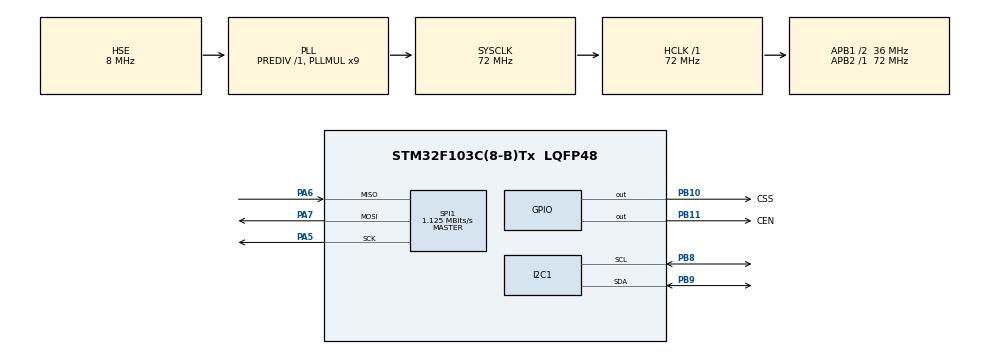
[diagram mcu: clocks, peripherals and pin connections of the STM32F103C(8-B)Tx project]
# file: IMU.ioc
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I2C1.I2C_Mode=I2C_Fast
Mcu.Family=STM32F1
Mcu.Name=STM32F103C(8-B)Tx
Mcu.Package=LQFP48
NVIC.PriorityGroup=NVIC_PRIORITYGROUP_4
PA13.Mode=Serial_Wire
PA13.Signal=SYS_JTMS-SWDIO
PA14.Mode=Serial_Wire
PA14.Signal=SYS_JTCK-SWCLK
PA5.Mode=Full_Duplex_Master
PA5.Signal=SPI1_SCK
PA6.Mode=Full_Duplex_Master
PA6.Signal=SPI1_MISO
PA7.Mode=Full_Duplex_Master
PA7.Signal=SPI1_MOSI
PB10.GPIO_Label=CSS
PB10.Signal=GPIO_Output
PB11.GPIO_Label=CEN
PB11.Signal=GPIO_Output
PB8.GPIO_Pu=GPIO_PULLUP
PB8.Mode=I2C
PB8.Signal=I2C1_SCL
PB9.GPIO_Pu=GPIO_PULLUP
PB9.Mode=I2C
PB9.Signal=I2C1_SDA
PD0-OSC_IN.Mode=HSE-External-Oscillator
PD0-OSC_IN.Signal=RCC_OSC_IN
PD1-OSC_OUT.Mode=HSE-External-Oscillator
PD1-OSC_OUT.Signal=RCC_OSC_OUT
ProjectManager.HeapSize=0x200
ProjectManager.StackSize=0x400
ProjectManager.TargetToolchain=STM32CubeIDE
RCC.AHBFreq_Value=72000000
RCC.APB1CLKDivider=RCC_HCLK_DIV2
RCC.APB1Freq_Value=36000000
RCC.APB1TimFreq_Value=72000000
RCC.APB2Freq_Value=72000000
RCC.APB2TimFreq_Value=72000000
RCC.HCLKFreq_Value=72000000
RCC.PLLMUL=RCC_PLL_MUL9
RCC.PLLSourceVirtual=RCC_PLLSOURCE_HSE
RCC.SYSCLKFreq_VALUE=72000000
RCC.SYSCLKSource=RCC_SYSCLKSOURCE_PLLCLK
RCC.USBFreq_Value=72000000
SPI1.BaudRatePrescaler=SPI_BAUDRATEPRESCALER_64
SPI1.CalculateBaudRate=1.125 MBits/s
SPI1.Direction=SPI_DIRECTION_2LINES
SPI1.Mode=SPI_MODE_MASTER
SPI1.VirtualType=VM_MASTER
TIM4.Prescaler=72
VP_TIM4_VS_ClockSourceINT.Mode=Internal
board=custom

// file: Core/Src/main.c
/* USER CODE BEGIN Header */
/**
  ******************************************************************************
  * @file           : main.c
  * @brief          : Main program body
  ******************************************************************************
  * @attention
  *
  * <h2><center>&copy; Copyright (c) 2021 STMicroelectronics.
  * All rights reserved.</center></h2>
  *
  * This software component is licensed by ST under BSD 3-Clause license,
  * the "License"; You may not use this file except in compliance with the
  * License. You may obtain a copy of the License at:
  *                        opensource.org/licenses/BSD-3-Clause
  *
  ******************************************************************************
  */
/* USER CODE END Header */
#include "main.h"
#include "i2c.h"
#include "spi.h"
#include "tim.h"
#include "gpio.h"

/* USER CODE BEGIN Includes */
#include "stdbool.h"
#include "math.h"
#include "stdlib.h"
#include "nRF24L01.h"
#include "MY_NRF24.h"
/* USER CODE END Includes */

void SystemClock_Config(void);

/* USER CODE BEGIN 0 */
uint64_t RxpipeAddrs = 0x11223344AA;
uint8_t received_byte[2];
// Global variable for MUP_6050

float pid_p_gain = 22;                                       //Gain setting for the P-controller (15)
float pid_i_gain = 1.3;                                      //Gain setting for the I-controller (1.5)
float pid_d_gain = 66;                                       //Gain setting for the D-controller (30)
float turning_speed = 10;                                    //Turning speed (20)
float max_target_speed = 100;                                //Max target speed (100)

int gyro_x, gyro_y, gyro_z;
long acc_x, acc_y, acc_z, acc_total_vector;
long gyro_x_cal, gyro_y_cal, gyro_z_cal;
long loop_timer;
float angle_pitch, angle_roll;
float angle_roll_acc, angle_pitch_acc;
float angle_pitch_output, angle_roll_output;

float self_balance_pid_setpoint;
float pid_error_temp, pid_i_mem, pid_setpoint=0, gyro_input, pid_output, pid_last_d_error;
float pid_output_left, pid_output_right;

int left_motor, throttle_left_motor, throttle_counter_left_motor, throttle_left_motor_memory;
int right_motor, throttle_right_motor, throttle_counter_right_motor, throttle_right_motor_memory;
int battery_voltage;
int receive_counter;

void TIM3_IRQHandler(void){

	if ( TIM3->SR & TIM_SR_UIF ){

		throttle_counter_left_motor++;
		if ( throttle_counter_left_motor > throttle_left_motor_memory ){
			throttle_counter_left_motor=0;
			throttle_left_motor_memory = throttle_left_motor;
			if ( throttle_left_motor_memory < 0 ){
				GPIOB->BRR |= ( 1<<12 );
				throttle_left_motor_memory *=-1;
			}else{
				GPIOB->BSRR |= ( 1<<12 );
			}
		}
		else if ( throttle_counter_left_motor == 1 )GPIOB->BSRR |=(1<<1);
		else if ( throttle_counter_left_motor == 2 )GPIOB->BRR |= (1<<1);

		throttle_counter_right_motor++;
		if ( throttle_counter_right_motor > throttle_right_motor_memory ){
			throttle_counter_right_motor=0;
			throttle_right_motor_memory = throttle_right_motor;
			if ( throttle_right_motor_memory < 0 ){
				GPIOB->BRR |= ( 1<<15 );
				throttle_right_motor_memory *=-1;
			}else{
						GPIOB->BSRR |= ( 1<<15 );
			}
		}
		else if ( throttle_counter_left_motor == 1 )GPIOB->BSRR |=(1<<13);
		else if ( throttle_counter_left_motor == 2 )GPIOB->BRR |= (1<<13);
	}
	TIM3->SR &= ~TIM_SR_UIF;
}

void setup_mpu_6050_register(void){
	HAL_I2C_Mem_Write(&hi2c1, 0x68<<1, 0x6B, 1, (uint8_t*) 0x00, 1, 10);
	HAL_I2C_Mem_Write(&hi2c1, 0x68<<1, 0x1C, 1, (uint8_t*) 0x10, 1, 10);
	HAL_I2C_Mem_Write(&hi2c1, 0x68<<1, 0x1B, 1, (uint8_t*) 0x08, 1, 10);
}

void read_mpu_6050_data(void){
	uint8_t Accel_Data_Raw[6];
	HAL_I2C_Mem_Read (&hi2c1, 0x68<<1, 0x3B, 1, Accel_Data_Raw, 6, 1000);

	acc_x = (int16_t)(Accel_Data_Raw[0] << 8 | Accel_Data_Raw [1]);
	acc_y = (int16_t)(Accel_Data_Raw[2] << 8 | Accel_Data_Raw [3]);
	acc_z = (int16_t)(Accel_Data_Raw[4] << 8 | Accel_Data_Raw [5]);

	uint8_t Gyro_Data_Raw[6];
	HAL_I2C_Mem_Read (&hi2c1, 0x68<<1, 0x43, 1, Gyro_Data_Raw, 6, 1000);

	gyro_x = (int16_t)(Gyro_Data_Raw[0] << 8 | Gyro_Data_Raw [1]);
	gyro_y = (int16_t)(Gyro_Data_Raw[2] << 8 | Gyro_Data_Raw [3]);
	gyro_z = (int16_t)(Gyro_Data_Raw[4] << 8 | Gyro_Data_Raw [5]);
}
/* USER CODE END 0 */

int main(void)
{

  /* MCU Configuration--------------------------------------------------------*/

  /* Reset of all peripherals, Initializes the Flash interface and the Systick. */
  HAL_Init();

  /* Configure the system clock */
  SystemClock_Config();

  /* Initialize all configured peripherals */
  MX_GPIO_Init();
  MX_I2C1_Init();
  MX_SPI1_Init();
  MX_TIM4_Init();
  /* USER CODE BEGIN 2 */

  ///////////////////////////////////////////////////
  // NRF24 setup
  NRF24_begin(CSS_GPIO_Port, CSS_Pin, CEN_Pin, hspi1);
  NRF24_stopListening();
  NRF24_setAutoAck(true);
  NRF24_setChannel(68);
  NRF24_setPayloadSize(32);
  NRF24_openReadingPipe(1, RxpipeAddrs);
  NRF24_startListening();

  // GPIO Configure
  RCC->APB2ENR |= ( (1<<4) | (1<<3) );  // Enable clock for GPIO port C
  // Configure GPIOC pin 13 as output mode
  GPIOC->CRH |= ( ( 1<<20 ) | ( 1<<21 ) ); // OUTPUT mode, max speed 50Mhz
  GPIOC->CRH &= ~( ( 1<<22 ) | ( 1<<23 ) ); // General purpose output push-pull

  // Configure GPIOB for controlling stepper Motor2
  /////////////////////////////////////////////////

  GPIOB->CRL |= ( ( 1<<4 ) | ( 1<<5 ) ); // m2_step pin as output
  GPIOB->CRL &= ~( ( 1<<6 ) | ( 1<<7 ) );

  GPIOB->CRL |= ( ( 1<<8 ) | ( 1<<9 ) ); // m2_enable as output
  GPIOB->CRL &= ~( ( 1<<10 ) | ( 1<<11 ) );

  GPIOB->CRH |= ( ( 1<<16 ) | ( 1<<17) ); // m2_dir as output
  GPIOB->CRH &= ~( ( 1<<18 ) | ( 1<<19 ) );
  //////////////////////////////////////////////////

  // Configure GPIOB for controlling stepper Motor1
  /////////////////////////////////////////////////

  GPIOB->CRH |= ( ( 1<<20 ) | ( 1<<21 ) ); // m1_step pin as output
  GPIOB->CRH &= ~( ( 1<<22 ) | ( 1<<23 ) );

  GPIOB->CRH |= ( ( 1<<24 ) | ( 1<<25 ) ); // m1_enable as output
  GPIOB->CRH &= ~( ( 1<<26 ) | ( 1<<27 ) );

  GPIOB->CRH |= ( ( 1<<28 ) | ( 1<<29 ) ); // m1_dir as output
  GPIOB->CRH &= ~( ( 1<<30 ) | ( 1<<31 ) );
  /////////////////////////////////////////////////

  GPIOB->BRR |= (1<<2);
  GPIOB->BRR |= (1<<14);

  // Timer interrupt configuration

  RCC->APB1ENR |= RCC_APB1ENR_TIM3EN; 				// Enable clock for TIM3
  TIM3->PSC = 2-1;
  TIM3->ARR = 1800-1;
  TIM3->CR1 |= TIM_CR1_CEN; 						// Enable counter
  TIM3->DIER |= TIM_DIER_UIE; 						// Enable timer interrupt
  NVIC_EnableIRQ(TIM3_IRQn); 						// abort enable IRQ line for TIM3

  ////////////////////////////////////////////////////

  setup_mpu_6050_register();
  for ( int i=0; i< 2000; i++){
	  if ( i % 15 == 0);
	  read_mpu_6050_data();
	  gyro_x_cal += gyro_x;
	  gyro_y_cal += gyro_y;
	  gyro_z_cal += gyro_z;
	  GPIOC->ODR ^= (1<<13);
	  HAL_Delay(1);
  }

  gyro_x_cal /= 2000;
  gyro_y_cal /= 2000;
  gyro_z_cal /= 2000;
  ///////////////////////////////////////////////////

  HAL_TIM_Base_Start(&htim4);

  loop_timer = __HAL_TIM_GET_COUNTER(&htim4);

  /* USER CODE END 2 */

  /* Infinite loop */
  /* USER CODE BEGIN WHILE */
  while (1)
  {

	  read_mpu_6050_data();
	  gyro_x -= gyro_x_cal;
	  gyro_y -= gyro_y_cal;
	  gyro_z -= gyro_z_cal;
	  // Gyro angle calculations
	  // 0.0000611 = 1 / (250Hz / 65.5)
	  angle_pitch += gyro_x * 0.0000611;
	  angle_roll += gyro_y * 0.0000611;
	  //0.000001066 = 0.0000611 * (3.142(PI) / 180degr)
	  angle_roll += angle_pitch * sin(gyro_z * 0.000001066);
	  angle_pitch += angle_roll * sin(gyro_z * 0.000001066);
	  //Accelerometer angle calculations
	  acc_total_vector = sqrt((acc_x*acc_x)+(acc_y*acc_y)+(acc_z*acc_z));
	  //57.296 = 1 / (3.142 / 180)
	  if(abs(acc_x) < acc_total_vector){
	    angle_roll_acc = asin((float)acc_x/acc_total_vector)* -57.296;
	  }
	  //Place the MPU-6050 spirit level and note the values in the following two lines for calibration
//	  angle_roll_acc -= -35.7;
//	  angle_pitch_acc -= 0.0;

	  //angle_pitch = angle_pitch * 0.9996 + angle_pitch_acc * 0.0004;

	  angle_roll = angle_roll * 0.9996 + angle_roll_acc * 0.0004;

	  ////////////////////////////////////////////////////////////////////////////////
	  // PID controller
	  pid_error_temp = angle_roll - self_balance_pid_setpoint - pid_setpoint;
	  if ( pid_output > 10 || pid_output < -10 ) pid_error_temp += pid_output * 0.015;
	  pid_i_mem += pid_i_gain * pid_error_temp;
	  if ( pid_i_mem > 400 ) pid_i_mem = 400;
	  else if ( pid_i_mem < -400 ) pid_i_mem = -400;
	  pid_output = pid_p_gain * pid_error_temp + pid_i_mem + pid_d_gain * (pid_error_temp - pid_last_d_error);
	  if ( pid_output > 400 )pid_output = 400;
	  else if ( pid_output < -400 )pid_output = -400;
	  pid_last_d_error = pid_error_temp;
	  if ( pid_output < 5 && pid_output > -5 ) pid_output = 0;
	  if ( angle_roll > 30 || angle_roll < -30 ){
		  pid_output =0;
		  pid_i_mem = 0;
		  self_balance_pid_setpoint=0;
	  }
	  if(pid_setpoint == 0){                                                    //If the setpoint is zero degrees
	    if(pid_output < 0)self_balance_pid_setpoint += 0.0015;                  //Increase the self_balance_pid_setpoint if the robot is still moving forewards
	    if(pid_output > 0)self_balance_pid_setpoint -= 0.0015;                  //Decrease the self_balance_pid_setpoint if the robot is still moving backwards
	  }

	  ///////////////////////////////////////////////////////////////
	  // Remote
	  pid_output_left = pid_output;
	  pid_output_right = pid_output;

	  if ( received_byte[0] & 0b00000001 ){
		  pid_output_left += turning_speed;
		  pid_output_right -= turning_speed;
	  }
	  if ( received_byte[0] & 0b00000010 ){
		  pid_output_left -= turning_speed;
		  pid_output_right += turning_speed;
	  }
	  if ( received_byte[0] & 0b00000100 ){
		  if ( pid_setpoint > -2.5 )pid_setpoint -=0.05;
		  if ( pid_output > max_target_speed*-1)pid_setpoint -=0.005;
	  }
	  if ( received_byte[0] & 0b00001000 ){
		  if ( pid_setpoint < 2.5 ) pid_setpoint +=0.05;
		  if ( pid_output < max_target_speed )pid_setpoint +=0.005;
	  }
	  if ( !(received_byte[0] & 0b00001100 ) ){
		  if ( pid_setpoint > 0.5 ) pid_setpoint -=0.05;
		  else if ( pid_setpoint < -0.5 ) pid_setpoint +=0.05;
		  else pid_setpoint =0;
	  }
	  ///////////////////////////////////////////////////////////////////
	  // Add these lines to make stepper run in linear

	  if ( pid_output_left > 0 )pid_output_left = 405 - (1/(pid_output_left +9)) * 5500;
	  else if(pid_output_left < 0)pid_output_left = -405 - (1/(pid_output_left - 9)) * 5500;

	  if(pid_output_right > 0)pid_output_right = 405 - (1/(pid_output_right + 9)) * 5500;
	  else if(pid_output_right < 0)pid_output_right = -405 - (1/(pid_output_right - 9)) * 5500;

	  /////////////////////////////////////////////////////////////////////

	  //Calculate the needed pulse time for the left and right stepper motor controllers
	  if(pid_output_left > 0)left_motor = 400 - pid_output_left;
	  else if(pid_output_left < 0)left_motor = -400 - pid_output_left;
	  else left_motor = 0;

	  if(pid_output_right > 0)right_motor = 400 - pid_output_right;
	  else if(pid_output_right < 0)right_motor = -400 - pid_output_right;
	  else right_motor = 0;

	  throttle_left_motor = left_motor;
	  throttle_right_motor = right_motor;

	  while ( __HAL_TIM_GET_COUNTER(&htim4) - loop_timer < 4000 );
	  loop_timer = __HAL_TIM_GET_COUNTER(&htim4);

    /* USER CODE END WHILE */

  }
}

void SystemClock_Config(void)
{
  RCC_OscInitTypeDef RCC_OscInitStruct = {0};
  RCC_ClkInitTypeDef RCC_ClkInitStruct = {0};

  /** Initializes the RCC Oscillators according to the specified parameters
  * in the RCC_OscInitTypeDef structure.
  */
  RCC_OscInitStruct.OscillatorType = RCC_OSCILLATORTYPE_HSE;
  RCC_OscInitStruct.HSEState = RCC_HSE_ON;
  RCC_OscInitStruct.HSEPredivValue = RCC_HSE_PREDIV_DIV1;
  RCC_OscInitStruct.HSIState = RCC_HSI_ON;
  RCC_OscInitStruct.PLL.PLLState = RCC_PLL_ON;
  RCC_OscInitStruct.PLL.PLLSource = RCC_PLLSOURCE_HSE;
  RCC_OscInitStruct.PLL.PLLMUL = RCC_PLL_MUL9;
  if (HAL_RCC_OscConfig(&RCC_OscInitStruct) != HAL_OK)
  {
    Error_Handler();
  }

  /** Initializes the CPU, AHB and APB buses clocks
  */
  RCC_ClkInitStruct.ClockType = RCC_CLOCKTYPE_HCLK|RCC_CLOCKTYPE_SYSCLK
                              |RCC_CLOCKTYPE_PCLK1|RCC_CLOCKTYPE_PCLK2;
  RCC_ClkInitStruct.SYSCLKSource = RCC_SYSCLKSOURCE_PLLCLK;
  RCC_ClkInitStruct.AHBCLKDivider = RCC_SYSCLK_DIV1;
  RCC_ClkInitStruct.APB1CLKDivider = RCC_HCLK_DIV2;
  RCC_ClkInitStruct.APB2CLKDivider = RCC_HCLK_DIV1;

  if (HAL_RCC_ClockConfig(&RCC_ClkInitStruct, FLASH_LATENCY_2) != HAL_OK)
  {
    Error_Handler();
  }
}

void Error_Handler(void)
{
  __disable_irq();
  while (1)
  {
  }
}
